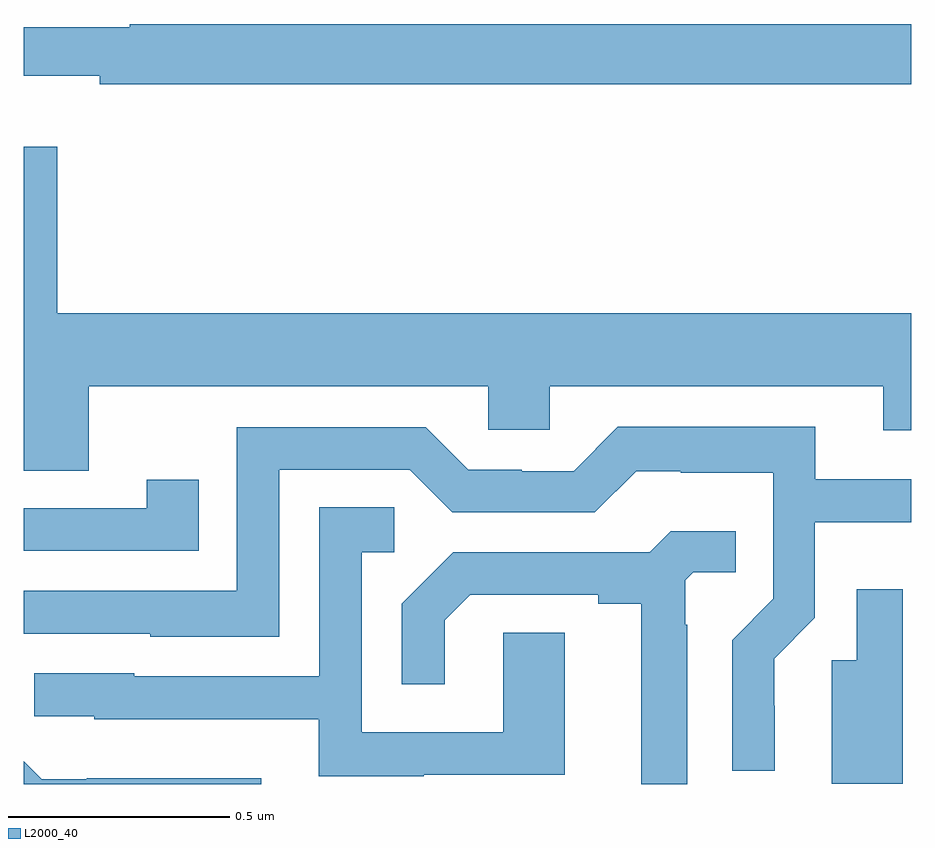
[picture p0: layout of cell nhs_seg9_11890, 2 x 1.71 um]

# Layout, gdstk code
import gdstk
lib = gdstk.Library(unit=1e-6, precision=1e-09)
def P(c, l, *ps):  # polygons
    for p in ps: c.add(gdstk.Polygon(p, *l))
L2000_40 = (2000, 40)

nhs_seg9_11890 = lib.new_cell('nhs_seg9_11890')
P(nhs_seg9_11890, L2000_40, [(263,1221.212),(261.239,1221.212),(261.239,1221.205),(261,1221.205),(261,1221.095),(261.172,1221.095),(261.172,1221.076),(263,1221.076)],
  [(261.147,1220.396),(262.047,1220.396),(262.047,1220.298),(262.185,1220.298),(262.185,1220.396),(262.937,1220.396),(262.937,1220.297),(263,1220.297),(263,1220.56),(261.076,1220.56),(261.076,1220.935),(261,1220.935),(261,1220.206),(261.147,1220.206)],
  [(262.692,1219.676),(262.691,1219.676),(262.691,1219.782),(262.782,1219.874),(262.782,1220.09),(263,1220.09),(263,1220.187),(262.783,1220.187),(262.783,1220.305),(262.339,1220.305),(262.239,1220.205),(262.122,1220.205),(262.122,1220.208),(262.002,1220.208),(261.906,1220.304),(261.48,1220.304),(261.48,1219.935),(261,1219.935),(261,1219.839),(261.285,1219.839),(261.285,1219.832),(261.576,1219.832),(261.576,1220.208),(261.87,1220.208),(261.966,1220.112),(262.287,1220.112),(262.38,1220.205),(262.48,1220.205),(262.48,1220.201),(262.689,1220.201),(262.689,1219.917),(262.596,1219.824),(262.596,1219.53),(262.692,1219.53)],
  [(261.395,1220.185),(261.277,1220.185),(261.277,1220.121),(261,1220.121),(261,1220.025),(261.395,1220.025)],
  [(261.901,1219.521),(262.219,1219.521),(262.219,1219.841),(262.08,1219.841),(262.08,1219.617),(261.762,1219.617),(261.762,1220.022),(261.835,1220.022),(261.835,1220.123),(261.666,1220.123),(261.666,1219.743),(261.249,1219.743),(261.249,1219.749),(261.024,1219.749),(261.024,1219.653),(261.159,1219.653),(261.159,1219.646),(261.665,1219.646),(261.665,1219.517),(261.901,1219.517)],
  [(262.495,1219.859),(262.491,1219.859),(262.491,1219.959),(262.509,1219.977),(262.604,1219.977),(262.604,1220.069),(262.458,1220.069),(262.41,1220.022),(261.968,1220.022),(261.852,1219.906),(261.852,1219.725),(261.949,1219.725),(261.949,1219.869),(262.006,1219.926),(262.295,1219.926),(262.295,1219.906),(262.391,1219.906),(262.391,1219.5),(262.495,1219.5)],
  [(262.981,1219.939),(262.877,1219.939),(262.877,1219.779),(262.82,1219.779),(262.82,1219.501),(262.981,1219.501)],
  [(261.535,1219.513),(261.142,1219.513),(261.142,1219.511),(261.041,1219.511),(261,1219.551),(261,1219.5),(261.535,1219.5)])

lib.write_gds('nhs_seg9_11890.gds')
